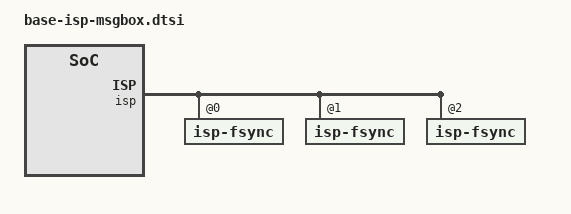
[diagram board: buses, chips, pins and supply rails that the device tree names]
#include <dt-bindings/media/bst-isp.h>
&isp {
	memory-region = <&isp_fw_msg_rsv>,	// Required to exchange message
			<&isp_fw_buf_rsv>,	// Required for ISP firmware
			<&bst_ipc_reserved>;	// When IOMMU and IPC mode is used, must map IPC memory
	dma-coherent;
	fw-bin = "isp/core_isp.exe.msgbox";
	iommus = <&mmu600_coreip 5>;
	status = "okay";

	isp-fsync@0 {
		source = <FSYNC_INNER0>;
		tx-pin = <5>;
		tx-fps = <20>;
	};
	isp-fsync@1 {
		source = <FSYNC_INNER0>;
		tx-pin = <6>;
		tx-fps = <20>;
	};
	isp-fsync@2 {
		source = <FSYNC_INNER0>;
		tx-pin = <7>;
		tx-fps = <20>;
	};
};
